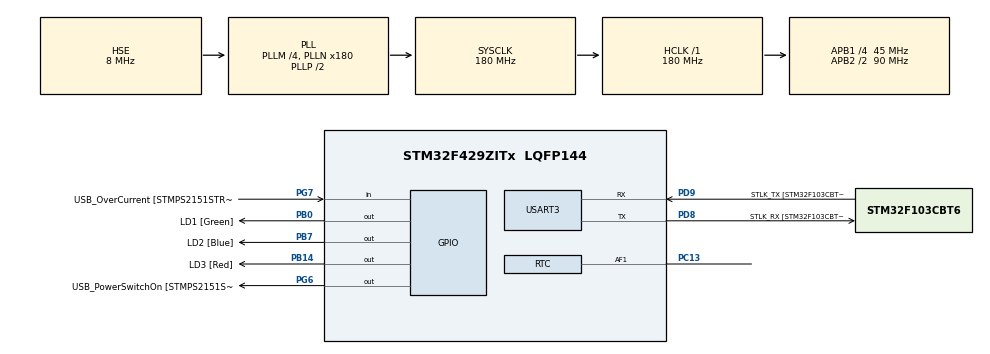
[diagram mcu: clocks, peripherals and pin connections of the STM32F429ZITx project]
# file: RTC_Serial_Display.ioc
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Dma.Request0=USART3_TX
Dma.Request1=USART3_RX
Dma.USART3_RX.1.Direction=DMA_PERIPH_TO_MEMORY
Dma.USART3_RX.1.FIFOMode=DMA_FIFOMODE_DISABLE
Dma.USART3_RX.1.Instance=DMA1_Stream1
Dma.USART3_RX.1.MemDataAlignment=DMA_MDATAALIGN_BYTE
Dma.USART3_RX.1.MemInc=DMA_MINC_ENABLE
Dma.USART3_RX.1.Mode=DMA_NORMAL
Dma.USART3_RX.1.PeriphDataAlignment=DMA_PDATAALIGN_BYTE
Dma.USART3_RX.1.PeriphInc=DMA_PINC_DISABLE
Dma.USART3_RX.1.Priority=DMA_PRIORITY_LOW
Dma.USART3_TX.0.Direction=DMA_MEMORY_TO_PERIPH
Dma.USART3_TX.0.FIFOMode=DMA_FIFOMODE_DISABLE
Dma.USART3_TX.0.Instance=DMA1_Stream3
Dma.USART3_TX.0.MemDataAlignment=DMA_MDATAALIGN_BYTE
Dma.USART3_TX.0.MemInc=DMA_MINC_ENABLE
Dma.USART3_TX.0.Mode=DMA_NORMAL
Dma.USART3_TX.0.PeriphDataAlignment=DMA_PDATAALIGN_BYTE
Dma.USART3_TX.0.PeriphInc=DMA_PINC_DISABLE
Dma.USART3_TX.0.Priority=DMA_PRIORITY_LOW
FREERTOS.Tasks01=defaultTask,24,128,StartDefaultTask,Default,NULL,Dynamic,NULL,NULL
FREERTOS.configUSE_IDLE_HOOK=1
Mcu.Family=STM32F4
Mcu.Name=STM32F429ZITx
Mcu.Package=LQFP144
NVIC.DMA1_Stream1_IRQn=true\:5\:0\:false\:false\:true\:true\:false\:true
NVIC.DMA1_Stream3_IRQn=true\:5\:0\:false\:false\:true\:true\:false\:true
NVIC.PriorityGroup=NVIC_PRIORITYGROUP_4
NVIC.TAMP_STAMP_IRQn=true\:5\:0\:false\:false\:true\:true\:true\:true
NVIC.TIM6_DAC_IRQn=true\:15\:0\:false\:false\:true\:false\:false\:true
NVIC.TimeBase=TIM6_DAC_IRQn
NVIC.TimeBaseIP=TIM6
NVIC.USART3_IRQn=true\:5\:0\:false\:false\:true\:true\:true\:true
PA1.GPIO_Label=RMII_REF_CLK [LAN8742A-CZ-TR_REFCLK0]
PA1.Signal=ETH_REF_CLK
PA10.GPIO_Label=USB_ID
PA10.Signal=USB_OTG_FS_ID
PA11.GPIO_Label=USB_DM
PA11.Signal=USB_OTG_FS_DM
PA12.GPIO_Label=USB_DP
PA12.Signal=USB_OTG_FS_DP
PA13.GPIO_Label=TMS
PA13.Mode=Trace_Asynchronous_SW
PA13.Signal=SYS_JTMS-SWDIO
PA14.GPIO_Label=TCK
PA14.Mode=Trace_Asynchronous_SW
PA14.Signal=SYS_JTCK-SWCLK
PA2.GPIO_Label=RMII_MDIO [LAN8742A-CZ-TR_MDIO]
PA2.Signal=ETH_MDIO
PA7.GPIO_Label=RMII_CRS_DV [LAN8742A-CZ-TR_CRS_DV]
PA7.Signal=ETH_CRS_DV
PA8.GPIO_Label=USB_SOF [TP1]
PA8.Signal=USB_OTG_FS_SOF
PA9.GPIO_Label=USB_VBUS
PA9.Signal=USB_OTG_FS_VBUS
PB0.GPIO_Label=LD1 [Green]
PB0.Signal=GPIO_Output
PB13.GPIO_Label=RMII_TXD1 [LAN8742A-CZ-TR_TXD1]
PB13.Signal=ETH_TXD1
PB14.GPIO_Label=LD3 [Red]
PB14.Signal=GPIO_Output
PB3.Mode=Trace_Asynchronous_SW
PB3.Signal=SYS_JTDO-SWO
PB4.Signal=SYS_JTRST
PB7.GPIO_Label=LD2 [Blue]
PB7.Signal=GPIO_Output
PC1.GPIO_Label=RMII_MDC [LAN8742A-CZ-TR_MDC]
PC1.Signal=ETH_MDC
PC13.Mode=Tamper 1 enabled - Input Enabled to AF1
PC13.Signal=RTC_AF1
PC14/OSC32_IN.Mode=LSE-External-Oscillator
PC14/OSC32_IN.Signal=RCC_OSC32_IN
PC15/OSC32_OUT.Mode=LSE-External-Oscillator
PC15/OSC32_OUT.Signal=RCC_OSC32_OUT
PC4.GPIO_Label=RMII_RXD0 [LAN8742A-CZ-TR_RXD0]
PC4.Signal=ETH_RXD0
PC5.GPIO_Label=RMII_RXD1 [LAN8742A-CZ-TR_RXD1]
PC5.Signal=ETH_RXD1
PD8.GPIO_Label=STLK_RX [STM32F103CBT6_PA3]
PD8.Mode=Asynchronous
PD8.Signal=USART3_TX
PD9.GPIO_Label=STLK_TX [STM32F103CBT6_PA2]
PD9.Mode=Asynchronous
PD9.Signal=USART3_RX
PG11.GPIO_Label=RMII_TX_EN [LAN8742A-CZ-TR_TXEN]
PG11.Signal=ETH_TX_EN
PG13.GPIO_Label=RMII_TXD0 [LAN8742A-CZ-TR_TXD0]
PG13.Signal=ETH_TXD0
PG6.GPIO_Label=USB_PowerSwitchOn [STMPS2151STR_EN]
PG6.Signal=GPIO_Output
PG7.GPIO_Label=USB_OverCurrent [STMPS2151STR_FAULT]
PG7.Signal=GPIO_Input
PH0/OSC_IN.GPIO_Label=MCO [STM32F103CBT6_PA8]
PH0/OSC_IN.Mode=HSE-External-Clock-Source
PH0/OSC_IN.Signal=RCC_OSC_IN
PH1/OSC_OUT.Mode=HSE-External-Clock-Source
PH1/OSC_OUT.Signal=RCC_OSC_OUT
ProjectManager.HeapSize=0x200
ProjectManager.StackSize=0x400
ProjectManager.TargetToolchain=STM32CubeIDE
RCC.48MHZClocksFreq_Value=90000000
RCC.AHBFreq_Value=180000000
RCC.APB1CLKDivider=RCC_HCLK_DIV4
RCC.APB1Freq_Value=45000000
RCC.APB1TimFreq_Value=90000000
RCC.APB2CLKDivider=RCC_HCLK_DIV2
RCC.APB2Freq_Value=90000000
RCC.APB2TimFreq_Value=180000000
RCC.CortexFreq_Value=180000000
RCC.HCLKFreq_Value=180000000
RCC.HSE_VALUE=8000000
RCC.HSI_VALUE=16000000
RCC.PLLM=4
RCC.PLLMUL=RCC_PLL_MUL9
RCC.PLLN=180
RCC.PLLSourceVirtual=RCC_PLLSOURCE_HSE
RCC.PRESCALERUSB=RCC_USBCLKSOURCE_PLL_DIV1_5
RCC.RCC_RTC_Clock_Source=RCC_RTCCLKSOURCE_LSE
RCC.RCC_RTC_Clock_SourceVirtual=RCC_RTCCLKSOURCE_LSE
RCC.SYSCLKFreq_VALUE=180000000
RCC.SYSCLKSource=RCC_SYSCLKSOURCE_PLLCLK
RCC.SYSCLKSourceVirtual=RCC_SYSCLKSOURCE_PLLCLK
RCC.USBFreq_Value=48000000
RCC.VCOOutputFreq_Value=360000000
RTC.PinSelection_1=RTC_TAMPERPIN_DEFAULT
USART3.VirtualMode=VM_ASYNC
VP_FREERTOS_VS_CMSIS_V2.Mode=CMSIS_V2
VP_RTC_VS_RTC_Activate.Mode=RTC_Enabled
VP_RTC_VS_RTC_Calendar.Mode=RTC_Calendar
VP_SYS_VS_tim6.Mode=TIM6
board=NUCLEO-F429ZI

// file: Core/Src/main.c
/* USER CODE BEGIN Header */
/**
 ******************************************************************************
 * @file           : main.c
 * @brief          : Main program body
 ******************************************************************************
 * @attention
 *
 * Copyright (c) 2022 STMicroelectronics.
 * All rights reserved.
 *
 * This software is licensed under terms that can be found in the LICENSE file
 * in the root directory of this software component.
 * If no LICENSE file comes with this software, it is provided AS-IS.
 *
 ******************************************************************************
 */
/* USER CODE END Header */
#include "main.h"
#include "cmsis_os.h"

RTC_HandleTypeDef hrtc;

UART_HandleTypeDef huart3;
DMA_HandleTypeDef hdma_usart3_tx;
DMA_HandleTypeDef hdma_usart3_rx;

/* Definitions for defaultTask */
osThreadId_t defaultTaskHandle;
const osThreadAttr_t defaultTask_attributes = {
  .name = "defaultTask",
  .stack_size = 128 * 4,
  .priority = (osPriority_t) osPriorityNormal,
};
/* USER CODE BEGIN PV */

//task handler
TaskHandle_t task_led;
TaskHandle_t task_print;
TaskHandle_t task_command;
TaskHandle_t task_rtc;
TaskHandle_t task_menu;
//queue handler
QueueHandle_t queue_print;
QueueHandle_t queue_data;

//software timer handles
TimerHandle_t timer_led[4];
TimerHandle_t timer_rtc;

state_t curr_state;

volatile uint8_t user_ser_input;
/* USER CODE END PV */

void SystemClock_Config(void);
static void MX_GPIO_Init(void);
static void MX_DMA_Init(void);
static void MX_RTC_Init(void);
static void MX_USART3_UART_Init(void);
void StartDefaultTask(void *argument);

/* USER CODE BEGIN PFP */
void led_effect_callback(TimerHandle_t xTimer);
void rtc_timer_callback(TimerHandle_t xTimer);
/* USER CODE END PFP */

int main(void)
{
  /* USER CODE BEGIN 1 */
	BaseType_t status;
  /* USER CODE END 1 */

  /* MCU Configuration--------------------------------------------------------*/

  /* Reset of all peripherals, Initializes the Flash interface and the Systick. */
  HAL_Init();

  /* Configure the system clock */
  SystemClock_Config();

  /* Initialize all configured peripherals */
  MX_GPIO_Init();
  MX_DMA_Init();
  MX_RTC_Init();
  MX_USART3_UART_Init();
  /* USER CODE BEGIN 2 */

	HAL_UART_Receive_IT(&huart3, (uint8_t*) &user_ser_input, 1);

	//If MCU has been in standby mode
	if (__HAL_PWR_GET_FLAG(PWR_FLAG_SB) != RESET)
	{
		__HAL_PWR_CLEAR_FLAG(PWR_FLAG_SB);
		printf("Wake up from standby mode");
	}
  /* USER CODE END 2 */

  /* Init scheduler */
  osKernelInitialize();

  /* USER CODE BEGIN RTOS_TIMERS */
	for (int i = 0; i < 4; i++) {
		timer_led[i] = xTimerCreate("LED Timer", pdMS_TO_TICKS(500), pdTRUE, (void*) i + 1, led_effect_callback);
		configASSERT(timer_led[i] != NULL);
	}

	timer_rtc = xTimerCreate("RTC Report Timer", pdMS_TO_TICKS(500), pdTRUE, NULL, rtc_timer_callback);
	/* start timers, add new ones, ... */
  /* USER CODE END RTOS_TIMERS */

  /* USER CODE BEGIN RTOS_QUEUES */
	queue_print = xQueueCreate(10, sizeof(size_t)); //store address of pointer
	configASSERT(queue_print != NULL);
	queue_data = xQueueCreate(10, sizeof(char));
	configASSERT(queue_print != NULL);

	/* add queues, ... */
  /* USER CODE END RTOS_QUEUES */

  /* Create the thread(s) */
  /* creation of defaultTask */
  defaultTaskHandle = osThreadNew(StartDefaultTask, NULL, &defaultTask_attributes);

  /* USER CODE BEGIN RTOS_THREADS */
	status = xTaskCreate(Task_Menu, "Menu Task", 250, NULL, 2, &task_menu);
	configASSERT(status == pdPASS);

	status = xTaskCreate(Task_Led, "LED Task", 250, NULL, 2, &task_led);
	configASSERT(status == pdPASS);

	status = xTaskCreate(Task_RTC, "RTC Task", 250, NULL, 2, &task_rtc);
	configASSERT(status == pdPASS);

	status = xTaskCreate(Task_Command, "Command Task", 250, NULL, 2, &task_command);
	configASSERT(status == pdPASS);

	status = xTaskCreate(Task_Print, "Print Task", 250, NULL, 2, &task_print);
	configASSERT(status == pdPASS);

	/* add threads, ... */
  /* USER CODE END RTOS_THREADS */

  /* Start scheduler */
  osKernelStart();

  /* We should never get here as control is now taken by the scheduler */
  /* Infinite loop */
	while (1) {

	}
}

void SystemClock_Config(void)
{
  RCC_OscInitTypeDef RCC_OscInitStruct = {0};
  RCC_ClkInitTypeDef RCC_ClkInitStruct = {0};

  /** Configure the main internal regulator output voltage
  */
  __HAL_RCC_PWR_CLK_ENABLE();
  __HAL_PWR_VOLTAGESCALING_CONFIG(PWR_REGULATOR_VOLTAGE_SCALE1);
  /** Initializes the RCC Oscillators according to the specified parameters
  * in the RCC_OscInitTypeDef structure.
  */
  RCC_OscInitStruct.OscillatorType = RCC_OSCILLATORTYPE_HSE|RCC_OSCILLATORTYPE_LSE;
  RCC_OscInitStruct.HSEState = RCC_HSE_BYPASS;
  RCC_OscInitStruct.LSEState = RCC_LSE_ON;
  RCC_OscInitStruct.PLL.PLLState = RCC_PLL_ON;
  RCC_OscInitStruct.PLL.PLLSource = RCC_PLLSOURCE_HSE;
  RCC_OscInitStruct.PLL.PLLM = 4;
  RCC_OscInitStruct.PLL.PLLN = 180;
  RCC_OscInitStruct.PLL.PLLP = RCC_PLLP_DIV2;
  RCC_OscInitStruct.PLL.PLLQ = 4;
  if (HAL_RCC_OscConfig(&RCC_OscInitStruct) != HAL_OK)
  {
    Error_Handler();
  }
  /** Activate the Over-Drive mode
  */
  if (HAL_PWREx_EnableOverDrive() != HAL_OK)
  {
    Error_Handler();
  }
  /** Initializes the CPU, AHB and APB buses clocks
  */
  RCC_ClkInitStruct.ClockType = RCC_CLOCKTYPE_HCLK|RCC_CLOCKTYPE_SYSCLK
                              |RCC_CLOCKTYPE_PCLK1|RCC_CLOCKTYPE_PCLK2;
  RCC_ClkInitStruct.SYSCLKSource = RCC_SYSCLKSOURCE_PLLCLK;
  RCC_ClkInitStruct.AHBCLKDivider = RCC_SYSCLK_DIV1;
  RCC_ClkInitStruct.APB1CLKDivider = RCC_HCLK_DIV4;
  RCC_ClkInitStruct.APB2CLKDivider = RCC_HCLK_DIV2;

  if (HAL_RCC_ClockConfig(&RCC_ClkInitStruct, FLASH_LATENCY_5) != HAL_OK)
  {
    Error_Handler();
  }
}

static void MX_RTC_Init(void)
{

  RTC_TimeTypeDef sTime = {0};
  RTC_DateTypeDef sDate = {0};
  RTC_TamperTypeDef sTamper = {0};

  /** Initialize RTC Only
  */
  hrtc.Instance = RTC;
  hrtc.Init.HourFormat = RTC_HOURFORMAT_24;
  hrtc.Init.AsynchPrediv = 127;
  hrtc.Init.SynchPrediv = 255;
  hrtc.Init.OutPut = RTC_OUTPUT_DISABLE;
  hrtc.Init.OutPutPolarity = RTC_OUTPUT_POLARITY_HIGH;
  hrtc.Init.OutPutType = RTC_OUTPUT_TYPE_OPENDRAIN;
  if (HAL_RTC_Init(&hrtc) != HAL_OK)
  {
    Error_Handler();
  }

  /** Initialize RTC and set the Time and Date
  */
  sTime.Hours = 0x0;
  sTime.Minutes = 0x0;
  sTime.Seconds = 0x0;
  sTime.DayLightSaving = RTC_DAYLIGHTSAVING_NONE;
  sTime.StoreOperation = RTC_STOREOPERATION_RESET;
  if (HAL_RTC_SetTime(&hrtc, &sTime, RTC_FORMAT_BCD) != HAL_OK)
  {
    Error_Handler();
  }
  sDate.WeekDay = RTC_WEEKDAY_MONDAY;
  sDate.Month = RTC_MONTH_JANUARY;
  sDate.Date = 0x1;
  sDate.Year = 0x0;

  if (HAL_RTC_SetDate(&hrtc, &sDate, RTC_FORMAT_BCD) != HAL_OK)
  {
    Error_Handler();
  }
  /** Enable the RTC Tamper 1
  */
  sTamper.Tamper = RTC_TAMPER_1;
  sTamper.PinSelection = RTC_TAMPERPIN_DEFAULT;
  sTamper.Trigger = RTC_TAMPERTRIGGER_RISINGEDGE;
  sTamper.Filter = RTC_TAMPERFILTER_DISABLE;
  sTamper.SamplingFrequency = RTC_TAMPERSAMPLINGFREQ_RTCCLK_DIV32768;
  sTamper.PrechargeDuration = RTC_TAMPERPRECHARGEDURATION_1RTCCLK;
  sTamper.TamperPullUp = RTC_TAMPER_PULLUP_ENABLE;
  sTamper.TimeStampOnTamperDetection = RTC_TIMESTAMPONTAMPERDETECTION_ENABLE;
  if (HAL_RTCEx_SetTamper_IT(&hrtc, &sTamper) != HAL_OK)
  {
    Error_Handler();
  }

}

static void MX_USART3_UART_Init(void)
{

  huart3.Instance = USART3;
  huart3.Init.BaudRate = 115200;
  huart3.Init.WordLength = UART_WORDLENGTH_8B;
  huart3.Init.StopBits = UART_STOPBITS_1;
  huart3.Init.Parity = UART_PARITY_NONE;
  huart3.Init.Mode = UART_MODE_TX_RX;
  huart3.Init.HwFlowCtl = UART_HWCONTROL_NONE;
  huart3.Init.OverSampling = UART_OVERSAMPLING_16;
  if (HAL_UART_Init(&huart3) != HAL_OK)
  {
    Error_Handler();
  }

}

static void MX_DMA_Init(void)
{

  /* DMA controller clock enable */
  __HAL_RCC_DMA1_CLK_ENABLE();

  /* DMA interrupt init */
  /* DMA1_Stream1_IRQn interrupt configuration */
  HAL_NVIC_SetPriority(DMA1_Stream1_IRQn, 5, 0);
  HAL_NVIC_EnableIRQ(DMA1_Stream1_IRQn);
  /* DMA1_Stream3_IRQn interrupt configuration */
  HAL_NVIC_SetPriority(DMA1_Stream3_IRQn, 5, 0);
  HAL_NVIC_EnableIRQ(DMA1_Stream3_IRQn);

}

static void MX_GPIO_Init(void)
{
  GPIO_InitTypeDef GPIO_InitStruct = {0};

  /* GPIO Ports Clock Enable */
  __HAL_RCC_GPIOE_CLK_ENABLE();
  __HAL_RCC_GPIOC_CLK_ENABLE();
  __HAL_RCC_GPIOF_CLK_ENABLE();
  __HAL_RCC_GPIOH_CLK_ENABLE();
  __HAL_RCC_GPIOA_CLK_ENABLE();
  __HAL_RCC_GPIOB_CLK_ENABLE();
  __HAL_RCC_GPIOG_CLK_ENABLE();
  __HAL_RCC_GPIOD_CLK_ENABLE();

  /*Configure GPIO pin Output Level */
  HAL_GPIO_WritePin(GPIOB, LD1_Pin|LD3_Pin|LD2_Pin, GPIO_PIN_RESET);

  /*Configure GPIO pin Output Level */
  HAL_GPIO_WritePin(USB_PowerSwitchOn_GPIO_Port, USB_PowerSwitchOn_Pin, GPIO_PIN_RESET);

  /*Configure GPIO pins : PE2 PE3 PE4 PE5
                           PE6 PE7 PE8 PE9
                           PE10 PE11 PE12 PE13
                           PE14 PE15 PE0 PE1 */
  GPIO_InitStruct.Pin = GPIO_PIN_2|GPIO_PIN_3|GPIO_PIN_4|GPIO_PIN_5
                          |GPIO_PIN_6|GPIO_PIN_7|GPIO_PIN_8|GPIO_PIN_9
                          |GPIO_PIN_10|GPIO_PIN_11|GPIO_PIN_12|GPIO_PIN_13
                          |GPIO_PIN_14|GPIO_PIN_15|GPIO_PIN_0|GPIO_PIN_1;
  GPIO_InitStruct.Mode = GPIO_MODE_ANALOG;
  GPIO_InitStruct.Pull = GPIO_NOPULL;
  HAL_GPIO_Init(GPIOE, &GPIO_InitStruct);

  /*Configure GPIO pins : PF0 PF1 PF2 PF3
                           PF4 PF5 PF6 PF7
                           PF8 PF9 PF10 PF11
                           PF12 PF13 PF14 PF15 */
  GPIO_InitStruct.Pin = GPIO_PIN_0|GPIO_PIN_1|GPIO_PIN_2|GPIO_PIN_3
                          |GPIO_PIN_4|GPIO_PIN_5|GPIO_PIN_6|GPIO_PIN_7
                          |GPIO_PIN_8|GPIO_PIN_9|GPIO_PIN_10|GPIO_PIN_11
                          |GPIO_PIN_12|GPIO_PIN_13|GPIO_PIN_14|GPIO_PIN_15;
  GPIO_InitStruct.Mode = GPIO_MODE_ANALOG;
  GPIO_InitStruct.Pull = GPIO_NOPULL;
  HAL_GPIO_Init(GPIOF, &GPIO_InitStruct);

  /*Configure GPIO pins : PC0 PC2 PC3 PC6
                           PC7 PC8 PC9 PC10
                           PC11 PC12 */
  GPIO_InitStruct.Pin = GPIO_PIN_0|GPIO_PIN_2|GPIO_PIN_3|GPIO_PIN_6
                          |GPIO_PIN_7|GPIO_PIN_8|GPIO_PIN_9|GPIO_PIN_10
                          |GPIO_PIN_11|GPIO_PIN_12;
  GPIO_InitStruct.Mode = GPIO_MODE_ANALOG;
  GPIO_InitStruct.Pull = GPIO_NOPULL;
  HAL_GPIO_Init(GPIOC, &GPIO_InitStruct);

  /*Configure GPIO pins : RMII_MDC_Pin RMII_RXD0_Pin RMII_RXD1_Pin */
  GPIO_InitStruct.Pin = RMII_MDC_Pin|RMII_RXD0_Pin|RMII_RXD1_Pin;
  GPIO_InitStruct.Mode = GPIO_MODE_AF_PP;
  GPIO_InitStruct.Pull = GPIO_NOPULL;
  GPIO_InitStruct.Speed = GPIO_SPEED_FREQ_VERY_HIGH;
  GPIO_InitStruct.Alternate = GPIO_AF11_ETH;
  HAL_GPIO_Init(GPIOC, &GPIO_InitStruct);

  /*Configure GPIO pins : PA0 PA3 PA4 PA5
                           PA6 PA15 */
  GPIO_InitStruct.Pin = GPIO_PIN_0|GPIO_PIN_3|GPIO_PIN_4|GPIO_PIN_5
                          |GPIO_PIN_6|GPIO_PIN_15;
  GPIO_InitStruct.Mode = GPIO_MODE_ANALOG;
  GPIO_InitStruct.Pull = GPIO_NOPULL;
  HAL_GPIO_Init(GPIOA, &GPIO_InitStruct);

  /*Configure GPIO pins : RMII_REF_CLK_Pin RMII_MDIO_Pin RMII_CRS_DV_Pin */
  GPIO_InitStruct.Pin = RMII_REF_CLK_Pin|RMII_MDIO_Pin|RMII_CRS_DV_Pin;
  GPIO_InitStruct.Mode = GPIO_MODE_AF_PP;
  GPIO_InitStruct.Pull = GPIO_NOPULL;
  GPIO_InitStruct.Speed = GPIO_SPEED_FREQ_VERY_HIGH;
  GPIO_InitStruct.Alternate = GPIO_AF11_ETH;
  HAL_GPIO_Init(GPIOA, &GPIO_InitStruct);

  /*Configure GPIO pins : LD1_Pin LD3_Pin LD2_Pin */
  GPIO_InitStruct.Pin = LD1_Pin|LD3_Pin|LD2_Pin;
  GPIO_InitStruct.Mode = GPIO_MODE_OUTPUT_PP;
  GPIO_InitStruct.Pull = GPIO_NOPULL;
  GPIO_InitStruct.Speed = GPIO_SPEED_FREQ_LOW;
  HAL_GPIO_Init(GPIOB, &GPIO_InitStruct);

  /*Configure GPIO pins : PB1 PB2 PB10 PB11
                           PB12 PB15 PB5 PB6
                           PB8 PB9 */
  GPIO_InitStruct.Pin = GPIO_PIN_1|GPIO_PIN_2|GPIO_PIN_10|GPIO_PIN_11
                          |GPIO_PIN_12|GPIO_PIN_15|GPIO_PIN_5|GPIO_PIN_6
                          |GPIO_PIN_8|GPIO_PIN_9;
  GPIO_InitStruct.Mode = GPIO_MODE_ANALOG;
  GPIO_InitStruct.Pull = GPIO_NOPULL;
  HAL_GPIO_Init(GPIOB, &GPIO_InitStruct);

  /*Configure GPIO pins : PG0 PG1 PG2 PG3
                           PG4 PG5 PG8 PG9
                           PG10 PG12 PG14 PG15 */
  GPIO_InitStruct.Pin = GPIO_PIN_0|GPIO_PIN_1|GPIO_PIN_2|GPIO_PIN_3
                          |GPIO_PIN_4|GPIO_PIN_5|GPIO_PIN_8|GPIO_PIN_9
                          |GPIO_PIN_10|GPIO_PIN_12|GPIO_PIN_14|GPIO_PIN_15;
  GPIO_InitStruct.Mode = GPIO_MODE_ANALOG;
  GPIO_InitStruct.Pull = GPIO_NOPULL;
  HAL_GPIO_Init(GPIOG, &GPIO_InitStruct);

  /*Configure GPIO pin : RMII_TXD1_Pin */
  GPIO_InitStruct.Pin = RMII_TXD1_Pin;
  GPIO_InitStruct.Mode = GPIO_MODE_AF_PP;
  GPIO_InitStruct.Pull = GPIO_NOPULL;
  GPIO_InitStruct.Speed = GPIO_SPEED_FREQ_VERY_HIGH;
  GPIO_InitStruct.Alternate = GPIO_AF11_ETH;
  HAL_GPIO_Init(RMII_TXD1_GPIO_Port, &GPIO_InitStruct);

  /*Configure GPIO pins : PD10 PD11 PD12 PD13
                           PD14 PD15 PD0 PD1
                           PD2 PD3 PD4 PD5
                           PD6 PD7 */
  GPIO_InitStruct.Pin = GPIO_PIN_10|GPIO_PIN_11|GPIO_PIN_12|GPIO_PIN_13
                          |GPIO_PIN_14|GPIO_PIN_15|GPIO_PIN_0|GPIO_PIN_1
                          |GPIO_PIN_2|GPIO_PIN_3|GPIO_PIN_4|GPIO_PIN_5
                          |GPIO_PIN_6|GPIO_PIN_7;
  GPIO_InitStruct.Mode = GPIO_MODE_ANALOG;
  GPIO_InitStruct.Pull = GPIO_NOPULL;
  HAL_GPIO_Init(GPIOD, &GPIO_InitStruct);

  /*Configure GPIO pin : USB_PowerSwitchOn_Pin */
  GPIO_InitStruct.Pin = USB_PowerSwitchOn_Pin;
  GPIO_InitStruct.Mode = GPIO_MODE_OUTPUT_PP;
  GPIO_InitStruct.Pull = GPIO_NOPULL;
  GPIO_InitStruct.Speed = GPIO_SPEED_FREQ_LOW;
  HAL_GPIO_Init(USB_PowerSwitchOn_GPIO_Port, &GPIO_InitStruct);

  /*Configure GPIO pin : USB_OverCurrent_Pin */
  GPIO_InitStruct.Pin = USB_OverCurrent_Pin;
  GPIO_InitStruct.Mode = GPIO_MODE_INPUT;
  GPIO_InitStruct.Pull = GPIO_NOPULL;
  HAL_GPIO_Init(USB_OverCurrent_GPIO_Port, &GPIO_InitStruct);

  /*Configure GPIO pins : USB_SOF_Pin USB_ID_Pin USB_DM_Pin USB_DP_Pin */
  GPIO_InitStruct.Pin = USB_SOF_Pin|USB_ID_Pin|USB_DM_Pin|USB_DP_Pin;
  GPIO_InitStruct.Mode = GPIO_MODE_AF_PP;
  GPIO_InitStruct.Pull = GPIO_NOPULL;
  GPIO_InitStruct.Speed = GPIO_SPEED_FREQ_VERY_HIGH;
  GPIO_InitStruct.Alternate = GPIO_AF10_OTG_FS;
  HAL_GPIO_Init(GPIOA, &GPIO_InitStruct);

  /*Configure GPIO pin : USB_VBUS_Pin */
  GPIO_InitStruct.Pin = USB_VBUS_Pin;
  GPIO_InitStruct.Mode = GPIO_MODE_INPUT;
  GPIO_InitStruct.Pull = GPIO_NOPULL;
  HAL_GPIO_Init(USB_VBUS_GPIO_Port, &GPIO_InitStruct);

  /*Configure GPIO pins : RMII_TX_EN_Pin RMII_TXD0_Pin */
  GPIO_InitStruct.Pin = RMII_TX_EN_Pin|RMII_TXD0_Pin;
  GPIO_InitStruct.Mode = GPIO_MODE_AF_PP;
  GPIO_InitStruct.Pull = GPIO_NOPULL;
  GPIO_InitStruct.Speed = GPIO_SPEED_FREQ_VERY_HIGH;
  GPIO_InitStruct.Alternate = GPIO_AF11_ETH;
  HAL_GPIO_Init(GPIOG, &GPIO_InitStruct);

}

/* USER CODE BEGIN 4 */
void led_effect_callback(TimerHandle_t xTimer) {
	int id;
	id = (uint32_t) pvTimerGetTimerID(xTimer);
	switch (id) {
	case 1:
		led_effect_1();
		break;
	case 2:
		led_effect_2();
		break;
	case 3:
		led_effect_3();
		break;
	case 4:
		led_effect_4();
		break;
	}

}

void rtc_timer_callback(TimerHandle_t xTimer) {
	rtc_show_time_date_itm();
}

void HAL_UART_RxCpltCallback(UART_HandleTypeDef *huart)
{
	uint8_t dummy;

	if (!xQueueIsQueueFullFromISR(queue_data))
	{
		//Enqueue data type
		xQueueSendFromISR(queue_data, (void* )&user_ser_input, NULL);
	}
	else
	{
		if (user_ser_input == '\n')
				{
			//Make sure that last data byte of the queue is '\n'
			xQueueReceiveFromISR(queue_data, (void*) &dummy, NULL);
			xQueueSendFromISR(queue_data, (void* )&user_ser_input, NULL);
		}
	}

	//send notification to command handling task if user_data = '\n'
	if (user_ser_input == '\n')
		xTaskNotifyFromISR(task_command, 0, eNoAction, NULL);

	HAL_UART_Receive_IT(&huart3, (uint8_t*) &user_ser_input, 1);
}
/* USER CODE END 4 */

void StartDefaultTask(void *argument)
{
	for (;;) {
		osDelay(1);
	}
}

void HAL_TIM_PeriodElapsedCallback(TIM_HandleTypeDef *htim)
{
  if (htim->Instance == TIM6) {
    HAL_IncTick();
  }
}

void Error_Handler(void)
{
	__disable_irq();
	while (1) {
	}
}

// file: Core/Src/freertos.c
/* USER CODE BEGIN Header */
/**
 ******************************************************************************
 * File Name          : freertos.c
 * Description        : Code for freertos applications
 ******************************************************************************
 * @attention
 *
 * Copyright (c) 2022 STMicroelectronics.
 * All rights reserved.
 *
 * This software is licensed under terms that can be found in the LICENSE file
 * in the root directory of this software component.
 * If no LICENSE file comes with this software, it is provided AS-IS.
 *
 ******************************************************************************
 */
/* USER CODE END Header */

#include "FreeRTOS.h"
#include "task.h"
#include "main.h"

/* USER CODE BEGIN PTD */
typedef enum {
	HH_CONFIG,
	MM_CONFIG,
	SS_CONFIG,
} time_config;

typedef enum {
	DATE_CONFIG,
	MONTH_CONFIG,
	YEAR_CONFIG,
	DAY_CONFIG,
} date_config;
/* USER CODE END PTD */

/* USER CODE BEGIN PD */
#define SERIAL_UART USART3
/* USER CODE END PD */

/* USER CODE BEGIN Variables */
extern TaskHandle_t task_led;
extern TaskHandle_t task_print;
extern TaskHandle_t task_command;
extern TaskHandle_t task_rtc;
extern TaskHandle_t task_menu;
//queue handler
extern QueueHandle_t queue_print;
extern QueueHandle_t queue_data;

extern UART_HandleTypeDef huart3;
extern RTC_HandleTypeDef hrtc;
//software timer handles
extern TimerHandle_t timer_led[4];
extern TimerHandle_t timer_rtc;

extern state_t curr_state;

const char *msg_inv = "////Invalid option////\n";
/* USER CODE END Variables */

/* USER CODE BEGIN FunctionPrototypes */
static void process_command(command_t *cmd);
static int extract_command(command_t *cmd);
static uint8_t char2int(uint8_t *p, int len);
/* USER CODE END FunctionPrototypes */

/* Hook prototypes */
void vApplicationIdleHook(void);

/* USER CODE BEGIN 2 */
void vApplicationIdleHook(void)
{
	/* vApplicationIdleHook() will only be called if configUSE_IDLE_HOOK is set
	 to 1 in FreeRTOSConfig.h. It will be called on each iteration of the idle
	 task. It is essential that code added to this hook function never attempts
	 to block in any way (for example, call xQueueReceive() with a block time
	 specified, or call vTaskDelay()). If the application makes use of the
	 vTaskDelete() API function (as this demo application does) then it is also
	 important that vApplicationIdleHook() is permitted to return to its calling
	 function, because it is the responsibility of the idle task to clean up
	 memory allocated by the kernel to any task that has since been deleted. */

	//send the cpu to normal sleep
	HAL_PWR_EnterSLEEPMode(PWR_MAINREGULATOR_ON, PWR_SLEEPENTRY_WFI);
}
/* USER CODE END 2 */

/* USER CODE BEGIN Application */
void Task_Menu(void *argument)
{
	uint32_t cmd_addr;
	command_t *cmd;

	int option;
	const char *msg_menu = "\n"
			"========================\n"
			"|         Menu         |\n"
			"========================\n"
			"LED effect    -------> 0\n"
			"Date and time -------> 1\n"
			"Sleep         -------> 2\n"
			"Exit          -------> 3\n"
			"Enter your choice here : ";

	const char *exit_menu = "\n"
				"========================\n"
				"| MCU  is in standby   |\n"
				"========================\n";

	const char *sleep_menu = "\n"
					"========================\n"
					"|   MCU  is in sleep   |\n"
					"========================\n";
	const char *wkup_menu = "\n"
						"========================\n"
						"|   MCU  is in wake   |\n"
						"========================\n";

	while (1)
	{
		if (xQueueSend(queue_print, &msg_menu, portMAX_DELAY) != pdPASS)
		{
			printf("Fail to send msg menu queue");
		}

		//Wait for user input menu command
		xTaskNotifyWait(0, 0, &cmd_addr, portMAX_DELAY);
		cmd = (command_t*) cmd_addr;
		if (cmd->len == 1)
				{
			option = cmd->payload[0] - 48;
			switch (option)
			{
			case 0:
				curr_state = sLedEffect;
				xTaskNotify(task_led, 0, eNoAction);
				break;
			case 1:
				curr_state = sRtcMenu;
				xTaskNotify(task_rtc, 0, eNoAction);
				break;
			case 2:
				//Implement stop
				HAL_UART_Transmit(&huart3, (uint8_t*) sleep_menu, strlen((char*) sleep_menu), HAL_MAX_DELAY);
				/* Suspend the Ticks before entering the STOP mode or else this can wake the device up */
				vTaskSuspendAll();
				__HAL_RTC_TAMPER_CLEAR_FLAG(&hrtc, RTC_FLAG_TAMP1F|RTC_FLAG_TSF);
				__HAL_PWR_CLEAR_FLAG(PWR_FLAG_WU);
				__disable_irq();
				HAL_SuspendTick();
				//Sleep until any ISR
				HAL_PWR_EnterSTOPMode(PWR_LOWPOWERREGULATOR_ON, PWR_STOPENTRY_WFI);
				SystemClock_Config();
				HAL_ResumeTick();
				HAL_UART_Transmit(&huart3, (uint8_t*) wkup_menu, strlen((char*) wkup_menu), HAL_MAX_DELAY);
				__enable_irq();
				xTaskResumeAll();
				printf("Enter sleep mode\r\n");
				break;

			case 3:
				//Implement quit
				/** Now enter the standby mode **/
				/* clear tamper flag */
				__HAL_RTC_TAMPER_CLEAR_FLAG(&hrtc, RTC_FLAG_TAMP1F|RTC_FLAG_TSF);
				/*clear pwr wakeup flag*/
				__HAL_PWR_CLEAR_FLAG(PWR_FLAG_WU);
				printf("Enter Standby mode\r\n");
				HAL_UART_Transmit(&huart3, (uint8_t*) exit_menu, strlen((char*) exit_menu), HAL_MAX_DELAY);
				HAL_PWR_EnterSTANDBYMode();
				break;
			default:
				xQueueSend(queue_print, &msg_inv, portMAX_DELAY);
				continue;
			}
		}
		else {
			//Invalid entry
			xQueueSend(queue_print, &msg_inv, portMAX_DELAY);
			continue;
		}

		//Wait to run again when some other task notifies
		xTaskNotifyWait(0, 0, NULL, portMAX_DELAY);
	}
}

void Task_Led(void *argument)
{
	uint32_t cmd_addr;
	command_t *cmd;
	const char *msg_led = "\n"
			"========================\n"
			"|      LED Effect     |\n"
			"========================\n"
			"(none,e1,e2,e3,e4)\n"
			"Enter your choice here : ";

	while (1)
	{
		//Wait for notification(notify wait)
		xTaskNotifyWait(0, 0, NULL, portMAX_DELAY);
		//Print LED menu
		xQueueSend(queue_print, &msg_led, portMAX_DELAY);

		//wait for led command
		xTaskNotifyWait(0, 0, &cmd_addr, portMAX_DELAY);
		cmd = (command_t*) cmd_addr;

		if (cmd->len <= 4)
		{
			if (!strcmp((char*) cmd->payload, "none"))
				led_effect_stop();
			else if (!strcmp((char*) cmd->payload, "e1"))
				led_effect_start(0);
			else if (!strcmp((char*) cmd->payload, "e2"))
				led_effect_start(1);
			else if (!strcmp((char*) cmd->payload, "e3"))
				led_effect_start(2);
			else if (!strcmp((char*) cmd->payload, "e4"))
				led_effect_start(3);
			else
				xQueueSend(queue_print, &msg_inv, portMAX_DELAY);
		}
		else
			xQueueSend(queue_print, &msg_inv, portMAX_DELAY);

		//Update state variable
		curr_state = sMainMenu;

		//Notify menu task
		xTaskNotify(task_menu, 0, eNoAction);
	}

}
void Task_Print(void *argument)
{
	uint32_t *msg;
	while (1)
	{
		xQueueReceive(queue_print, &msg, portMAX_DELAY);
		if (HAL_UART_Transmit(&huart3, (uint8_t*) msg, strlen((char*) msg), HAL_MAX_DELAY) != HAL_OK)
				{
			Error_Handler();
		}
		vTaskDelay(pdMS_TO_TICKS(1));
	}
}

void Task_RTC(void *argument)
{
	const char *msg_rtc1 = "\n"
			"========================\n"
			"|         RTC          |\n"
			"========================\n";

	const char *msg_rtc2 = "\n"
			"Configure Time   ----> 0\n"
			"Configure Date   ----> 1\n"
			"Enable reporting ----> 2\n"
			"Exit             ----> 3\n"
			"Enter your choice here : ";
	const char *msg_rtc_hh = "\nEnter hour(1-12):";
	const char *msg_rtc_mm = "\nEnter minutes(0-59):";
	const char *msg_rtc_ss = "\nEnter seconds(0-59):";

	const char *msg_rtc_dd = "\nEnter date(1-31):";
	const char *msg_rtc_mo = "\nEnter month(1-12):";
	const char *msg_rtc_dow = "\nEnter day(1-7 sun:1):";
	const char *msg_rtc_yr = "\nEnter year(0-99):";

	const char *msg_conf = "\nConfiguration successful\n";
	const char *msg_rtc_report = "\nEnable time&date reporting(y/n)?: ";

	uint32_t cmd_addr;
	command_t *cmd;

	static int rtc_state = 0;
	int menu_code;

	RTC_TimeTypeDef time;
	RTC_DateTypeDef date;

	while (1)
	{
		//Wait until notify
		xTaskNotifyWait(0, 0, NULL, portMAX_DELAY);

		//print menu and show current time
		xQueueSend(queue_print, &msg_rtc1, portMAX_DELAY);
		rtc_show_time_date_serial();
		xQueueSend(queue_print, &msg_rtc2, portMAX_DELAY);

		while (curr_state != sMainMenu)
		{
			xTaskNotifyWait(0, 0, &cmd_addr, portMAX_DELAY);
			cmd = (command_t*) cmd_addr;

			switch (curr_state)
			{
			case sRtcMenu: {
				if (cmd->len == 1)
						{
					menu_code = cmd->payload[0] - 48;
					switch (menu_code)
					{
					case 0:
						curr_state = sRtcTimeConfig;
						xQueueSend(queue_print, &msg_rtc_hh, portMAX_DELAY);
						break;
					case 1:
						curr_state = sRtcDateConfig;
						xQueueSend(queue_print, &msg_rtc_dd, portMAX_DELAY);
						break;
					case 2:
						curr_state = sRtcReport;
						xQueueSend(queue_print, &msg_rtc_report, portMAX_DELAY);
						break;
					case 3:
						curr_state = sMainMenu;
						break;
					default:
						curr_state = sMainMenu;
						xQueueSend(queue_print, &msg_inv, portMAX_DELAY);
					}
				}
				else
				{
					curr_state = sMainMenu;
					xQueueSend(queue_print, &msg_inv, portMAX_DELAY);
				}
				break;
			}
			case sRtcTimeConfig: {
				/*get hh, mm, ss infor and configure RTC */
				/*take care of invalid entries */
				switch (rtc_state)
				{
				case HH_CONFIG: {
					uint8_t hour = char2int(cmd->payload, cmd->len);
					time.Hours = hour;
					rtc_state = MM_CONFIG;
					xQueueSend(queue_print, &msg_rtc_mm, portMAX_DELAY);
					break;
				}
				case MM_CONFIG: {
					uint8_t min = char2int(cmd->payload, cmd->len);
					time.Minutes = min;
					rtc_state = SS_CONFIG;
					xQueueSend(queue_print, &msg_rtc_ss, portMAX_DELAY);
					break;
				}
				case SS_CONFIG: {
					uint8_t sec = char2int(cmd->payload, cmd->len);
					time.Seconds = sec;
					if (!rtc_validate(&time, NULL))
							{
						rtc_configure_time(&time);
						xQueueSend(queue_print, &msg_conf, portMAX_DELAY);
						rtc_show_time_date_serial();
					} else
						xQueueSend(queue_print, &msg_inv, portMAX_DELAY);
					curr_state = sMainMenu;
					rtc_state = 0;
					break;
				}
				}
				break;
			}
			case sRtcDateConfig: {
				/*get date, month, day , year info and configure RTC */
				/*take care of invalid entries */
				switch (rtc_state) {
				case DATE_CONFIG: {
					uint8_t d = char2int(cmd->payload, cmd->len);
					date.Date = d;
					rtc_state = MONTH_CONFIG;
					xQueueSend(queue_print, &msg_rtc_mo, portMAX_DELAY);
					break;
				}
				case MONTH_CONFIG: {
					uint8_t month = char2int(cmd->payload, cmd->len);
					date.Month = month;
					rtc_state = DAY_CONFIG;
					xQueueSend(queue_print, &msg_rtc_dow, portMAX_DELAY);
					break;
				}
				case DAY_CONFIG: {
					uint8_t day = char2int(cmd->payload, cmd->len);
					date.WeekDay = day;
					rtc_state = YEAR_CONFIG;
					xQueueSend(queue_print, &msg_rtc_yr, portMAX_DELAY);
					break;
				}
				case YEAR_CONFIG: {
					uint8_t year = char2int(cmd->payload, cmd->len);
					date.Year = year;
					if (!rtc_validate(NULL, &date))
							{
						rtc_configure_date(&date);
						xQueueSend(queue_print, &msg_conf, portMAX_DELAY);
						rtc_show_time_date_serial();
					} else
						xQueueSend(queue_print, &msg_inv, portMAX_DELAY);
					curr_state = sMainMenu;
					rtc_state = 0;
					break;
				}
				}
				break;
			}
			case sRtcReport: {
				//Enable or disable RTC current time reporting over ITM
				if (cmd->len == 1)
						{
					if (cmd->payload[0] == 'y') {
						if (xTimerIsTimerActive(timer_rtc) == pdFALSE)
							xTimerStart(timer_rtc, portMAX_DELAY);
					}
					else if (cmd->payload[0] == 'n')
						xTimerStop(timer_rtc, portMAX_DELAY);
					else
						xQueueSend(queue_print, &msg_inv, portMAX_DELAY);
				} else
					xQueueSend(queue_print, &msg_inv, portMAX_DELAY);

				curr_state = sMainMenu;
				break;
			}
			}
		}
		/*Notify menu task */
		xTaskNotify(task_menu, 0, eNoAction);
	}
}

void Task_Command(void *argument)
{
	BaseType_t flag;
	command_t cmd;

	while (1)
	{
		flag = xTaskNotifyWait(0, 0, NULL, portMAX_DELAY);

		if (flag == pdTRUE)
			//process user input command and store in data queue
			process_command(&cmd);
	}
}

void process_command(command_t *cmd)
{
	extract_command(cmd);
	switch (curr_state) {
	case sMainMenu:
		xTaskNotify(task_menu, (uint32_t ) cmd, eSetValueWithOverwrite);
		break;
	case sLedEffect:
		xTaskNotify(task_led, (uint32_t ) cmd, eSetValueWithOverwrite);
		break;
	case sRtcMenu:
		case sRtcReport:
		case sRtcDateConfig:
		case sRtcTimeConfig:
		xTaskNotify(task_rtc, (uint32_t ) cmd, eSetValueWithOverwrite);
		break;
	}
}

int extract_command(command_t *cmd)
{
	uint8_t item;
	BaseType_t status;

	//Check if any message in the queue
	status = uxQueueMessagesWaiting(queue_data);
	if (status == 0)
		return -1;

	uint8_t i = 0;

	do
	{
		status = xQueueReceive(queue_data, &item, 0);
		if (status == pdTRUE)
			cmd->payload[i++] = item;
	} while (item != '\n');

	cmd->payload[i - 1] = '\0'; //replace \n with null character
	cmd->len = i - 1; //save length of command excluding null

	return 0;
}

static uint8_t char2int(uint8_t *p, int len)
{
	int value;
	if (len > 1)
		value = (((p[0] - 48) * 10) + (p[1] - 48));
	else
		value = p[0] - 48;
	return value;
}
/* USER CODE END Application */
